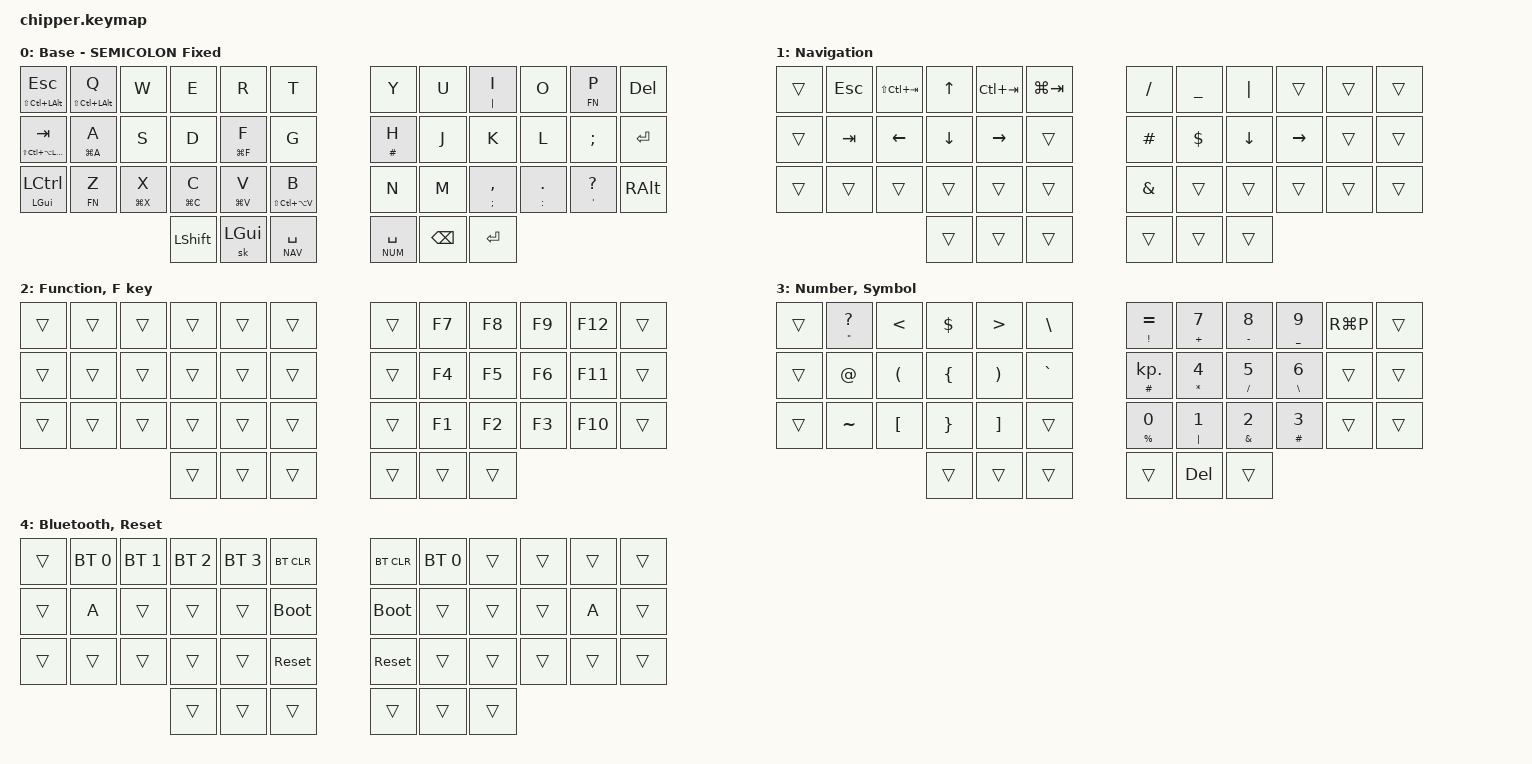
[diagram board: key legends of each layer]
#include <behaviors.dtsi>
#include <dt-bindings/zmk/keys.h>
#include <dt-bindings/zmk/bt.h>
#include <dt-bindings/zmk/outputs.h>

#define XXX &none
#define ___ &trans

#define COMBO_TIMEOUT 60
// Test GitHub Actions build

#define DEF 0
#define NAV 1
#define FN 2
#define NUM 3
#define SYS 4

/ {
    macros {
	nayeon: nayeon {
            compatible = "zmk,behavior-macro";
            #binding-cells = <0>;
            bindings
                = <&macro_tap_time 10>
		,<&macro_tap &kp N &kp A &kp Y &kp E &kp O &kp N &kp RET>;
        };
    };
};

/ {
    combos {
        compatible = "zmk,combos";
	 combo_cw {
            timeout-ms = <COMBO_TIMEOUT>;
            key-positions = <6 30>;
            bindings = <&nayeon>;
        };
    };
};

/ {
        bht: balanced_hold_taps {
            compatible = "zmk,behavior-hold-tap";
            #binding-cells = <2>;
            tapping-term-ms = <280>;    // <---[[moderate duration]]
            flavor = "balanced";
            bindings = <&kp>, <&kp>;
            quick-tap-ms = <175>;       // repeat on tap-into-hold
            require-prior-idle-ms = <150>;
        };
    };
/ {
    conditional_layers {
        compatible = "zmk,conditional-layers";
        tri_layer {
            if-layers = <1 2>;
            then-layer = <4>;
        };
    };
};

/ {
        keymap {
                compatible = "zmk,keymap";

                DEF_layer {
                        display-name = "Base - SEMICOLON Fixed";
                        bindings = <
            //╭──────╮ ╭─────────────┬─────────────┬─────────────┬─────────────┬─────────────╮   ╭─────────────┬─────────────┬─────────────┬─────────────┬─────────────╮ ╭──────╮
&bht LS(LC(LALT)) ESC  &bht LS(LC(LALT)) Q   &kp W    &kp E         &kp R         &kp T             &kp Y         &kp U         &bht PIPE I   &kp O         &lt FN P      &kp DEL
            //├──────┤ ├─────────────┼─────────────┼─────────────┼─────────────┼─────────────┤   ├─────────────┼─────────────┼──────|──────┼─────────────┼─────────────┤ ├──────┤
&bht LS(LC(LA(LGUI))) TAB   &bht LG(A) A     &kp S    &kp D      &bht LG(F) F     &kp G            &bht HASH H    &kp J         &kp K         &kp L         &kp SEMICOLON &kp RET
            //├──────┤ ├─────────────┼─────────────┼─────────────┼─────────────┼─────────────┤   ├──────#──────┼─────────────┼─────────────┼─────────────┼─────────────┤ ├──────┤
&bht LGUI LCTRL    &lt FN Z    &bht LG(X) X   &bht LG(C) C   &bht LG(V) V  &bht LS(LC(LA(V))) B     &kp N         &kp M       &bht SEMI COMMA &bht COLON DOT &bht SQT QMARK  &kp RALT
            //├──────┤ ╰─────────────┼─────────────┴─────────────┼─────────────┼─────────────┤   ├─────────────┼─────────────┼─────────────┴───────────────────────────╯ ├──────┤
                                                    &kp LSHFT      &sk LGUI      &lt NAV SPC       &lt NUM SPC    &kp BSPC    &kp RET
             //                                    ╰────────────┼──────────────┴─────────────╯   ╰─────────────┴─────────────┼─────────────╯
                        >;
                };

                

                NAV_layer {
                        display-name = "Navigation";
                        bindings = <
//╭──────╮ ╭─────────────┬─────────────┬─────────────┬─────────────┬─────────────╮ ╭─────────────┬─────────────┬─────────────┬─────────────┬─────────────╮ ╭──────╮
    ___      &kp ESC       &kp LS(LC(TAB)) &kp UP      &kp LC(TAB)    &kp LG(TAB)      &kp FSLH     &kp UNDER     &kp PIPE       ___           ___           ___
//├──────┤ ├─────────────┼─────────────┼─────────────┼─────────────┼───toggle────┤ ├─────────────┼─────────────┼─────────────┼─────────────┼─────────────┤ ├──────┤
    ___      &kp TAB       &kp LEFT      &kp DOWN      &kp RIGHT       ___             &kp HASH     &kp DLLR      &kp DOWN      &kp RIGHT      ___           ___
//├──────┤ ├─────────────┼─────────────┼─────────────┼─────────────┼─────────────┤ ├─────────────┼─────────────┼─────────────┼─────────────┼─────────────┤ ├──────┤
    ___      ___            ___           ___           ___            ___             &kp AMPS      ___           ___           ___           ___           ___
//├──────┤ ╰─────────────┼─────────────┴─────────────┼─────────────┼─────────────┤ ├─────────────┼─────────────┼─────────────┴───────────────────────────╯ ├──────┤
                                          ___           ___            ___             ___           ___          ___
//                                      ╰────────────╰─────────────┴─────────────╯ ╰─────────────┴─────────────╯─────────────╯                                           
                        >;
                };

                FN_layer {
                        display-name = "Function, F key";
                        bindings = <
//╭──────╮ ╭─────────────┬─────────────┬─────────────┬─────────────┬─────────────╮ ╭─────────────┬─────────────┬─────────────┬─────────────┬─────────────╮ ╭──────╮
    ___        ___         ___           ___           ___          ___              ___            &kp F7        &kp F8        &kp F9         &kp F12       ___
//├──────┤ ├─────────────┼─────────────┼─────────────┼─────────────┼─────────────┤ ├─────────────┼─────────────┼─────────────┼─────────────┼─────────────┤ ├──────┤
    ___        ___         ___           ___           ___          ___              ___            &kp F4        &kp F5        &kp F6         &kp F11       ___
//├──────┤ ├─────────────┼─────────────┼─────────────┼─────────────┼─────────────┤ ├─────────────┼─────────────┼─────────────┼─────────────┼─────────────┤ ├──────┤
    ___        ___         ___           ___           ___          ___              ___            &kp F1        &kp F2        &kp F3         &kp F10       ___
//├──────┤ ╰─────────────┼─────────────┴─────────────┼─────────────┼─────────────┤ ├─────────────┼─────────────┼─────────────┴───────────────────────────╯ ├──────┤
                                               ___        ___           ___            ___           ___           ___                                       
//                                           ╰──────╯╰─────────────┴─────────────╯ ╰─────────────┴─────────────╯╰──────╯                                           
                        >;
		};
		
		        NUM_layer {
                        display-name = "Number, Symbol";
                        bindings = <
//╭──────╮ ╭─────────────┬─────────────┬─────────────┬─────────────┬─────────────╮ ╭──────────────┬──────────────┬─────────────┬─────────────┬─────────────╮ ╭──────╮
    ___     &bht DQT QMARK &kp LT        &kp DLLR      &kp GT        &kp BSLH       &bht EXCL EQUAL  &bht PLUS N7 &bht MINUS N8 &bht UNDER N9  &kp RG(P)     ___
//├──────┤ ├─────────────┼─────────────┼─────────────┼─────────────┼─────────────┤ ├──────=!──────┼──────7+──────┼─────8-──────┼─────9_──────┼─────────────┤ ├──────┤
    ___     &kp AT         &kp LPAR      &kp LBRC      &kp RPAR      &kp GRAVE      &bht HASH KP_DOT &bht STAR N4 &bht FSLH N5  &bht BSLH N6  ___           ___
//├──────┤ ├─────────────┼─────────────┼─────────────┼─────────────┼─────────────┤ ├──────.#──────┼─────4*───────┼──────5/─────┼──────6\─────┼─────────────┤ ├──────┤
    ___     &kp TILDE      &kp LBKT      &kp RBRC      &kp RBKT      ___            &bht PRCNT N0   &bht PIPE N1   &bht AMPS N2  &bht HASH N3  ___           ___
//├──────┤ ╰─────────────┼─────────────┴─────────────┼─────────────┼─────────────┤ ├──────0%──────┼──────1|──────┼─────2&──────┼──────3#──────┼─────────────╯ ╰──────╯
                                         ___           ___           ___             ___           &kp DEL        ___                                    
//                                     ╰─────────────┴─────────────┴─────────────╯ ╰──────────────┴──────────────┼─────────────╯                                     
                        >;
		};

                        		SYS_layer {
                        display-name = "Bluetooth, Reset";
                        bindings = <
//╭──────╮ ╭─────────────┬─────────────┬─────────────┬─────────────┬─────────────╮ ╭─────────────┬─────────────┬─────────────┬─────────────┬─────────────╮ ╭──────╮
    ___    &bt BT_SEL 0   &bt BT_SEL 1  &bt BT_SEL 2  &bt BT_SEL 3   &bt BT_CLR       &bt BT_CLR    &bt BT_SEL 0  ___           ___           ___             ___
//├──────┤ ├─────────────┼─────────────┼─────────────┼─────────────┼─────────────┤ ├─────────────┼─────────────┼─────────────┼─────────────┼─────────────┤ ├──────┤
    ___     &kp A         ___           ___           ___            &bootloader      &bootloader   ___           ___           ___           &kp A           ___
//├──────┤ ├─────────────┼─────────────┼─────────────┼─────────────┼─────────────┤ ├─────────────┼─────────────┼─────────────┼─────────────┼─────────────┤ ├──────┤
    ___     ___           ___           ___           ___            &sys_reset       &sys_reset    ___           ___           ___           ___             ___
//├──────┤ ╰─────────────┼─────────────┴─────────────┼─────────────┼─────────────┤ ├─────────────┼─────────────┼─────────────┴───────────────────────────╯ ├──────┤
    ___                                                ___           ___              ___           ___                                                       ___
//╰──────╯                                           ╰─────────────┴─────────────╯ ╰─────────────┴─────────────╯                                           ╰──────╯
                        >;
		};

        };
};
